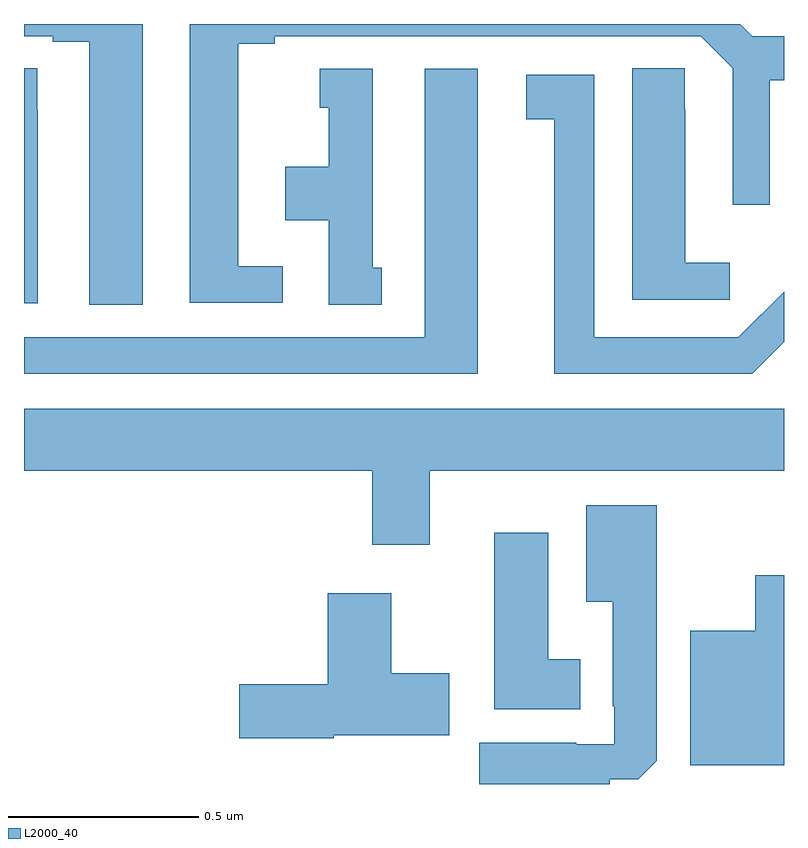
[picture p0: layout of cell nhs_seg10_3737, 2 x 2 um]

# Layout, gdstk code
import gdstk
lib = gdstk.Library(unit=1e-6, precision=1e-09)
def P(c, l, *ps):  # polygons
    for p in ps: c.add(gdstk.Polygon(p, *l))
L2000_40 = (2000, 40)

nhs_seg10_3737 = lib.new_cell('nhs_seg10_3737')
P(nhs_seg10_3737, L2000_40, [(157.681,1292.862),(157.564,1292.862),(157.564,1293.448),(157.66,1293.448),(157.66,1293.468),(158.781,1293.468),(158.865,1293.384),(158.865,1293.024),(158.962,1293.024),(158.962,1293.352),(159,1293.352),(159,1293.468),(158.917,1293.468),(158.885,1293.5),(157.436,1293.5),(157.436,1292.766),(157.681,1292.766)],
  [(157.312,1293.5),(157,1293.5),(157,1293.468),(157.076,1293.468),(157.076,1293.453),(157.172,1293.453),(157.172,1292.761),(157.312,1292.761)],
  [(158.857,1292.872),(158.74,1292.872),(158.74,1293.275),(158.739,1293.275),(158.739,1293.383),(158.6,1293.383),(158.6,1292.775),(158.857,1292.775)],
  [(157.036,1293.275),(157.035,1293.275),(157.035,1293.383),(157,1293.383),(157,1292.765),(157.036,1292.765)],
  [(157.942,1292.859),(157.918,1292.859),(157.918,1293.382),(157.778,1293.382),(157.778,1293.279),(157.802,1293.279),(157.802,1293.124),(157.688,1293.124),(157.688,1292.984),(157.802,1292.984),(157.802,1292.761),(157.942,1292.761)],
  [(158.194,1293.382),(158.054,1293.382),(158.054,1292.676),(157,1292.676),(157,1292.58),(158.194,1292.58)],
  [(159,1292.664),(159,1292.796),(158.88,1292.676),(158.5,1292.676),(158.5,1293.366),(158.322,1293.366),(158.322,1293.25),(158.396,1293.25),(158.396,1292.58),(158.916,1292.58)],
  [(158.068,1292.324),(159,1292.324),(159,1292.488),(157,1292.488),(157,1292.324),(157.916,1292.324),(157.916,1292.13),(158.068,1292.13)],
  [(158.542,1291.512),(158.616,1291.512),(158.665,1291.561),(158.665,1292.233),(158.48,1292.233),(158.48,1291.979),(158.549,1291.979),(158.549,1291.705),(158.553,1291.705),(158.553,1291.605),(158.453,1291.605),(158.453,1291.609),(158.198,1291.609),(158.198,1291.5),(158.542,1291.5)],
  [(158.464,1291.828),(158.38,1291.828),(158.38,1292.161),(158.237,1292.161),(158.237,1291.697),(158.464,1291.697)],
  [(159,1292.05),(158.924,1292.05),(158.924,1291.903),(158.753,1291.903),(158.753,1291.55),(159,1291.55)],
  [(157.815,1291.628),(158.119,1291.628),(158.119,1291.791),(157.966,1291.791),(157.966,1292.002),(157.799,1292.002),(157.799,1291.763),(157.566,1291.763),(157.566,1291.621),(157.815,1291.621)])

lib.write_gds('nhs_seg10_3737.gds')
